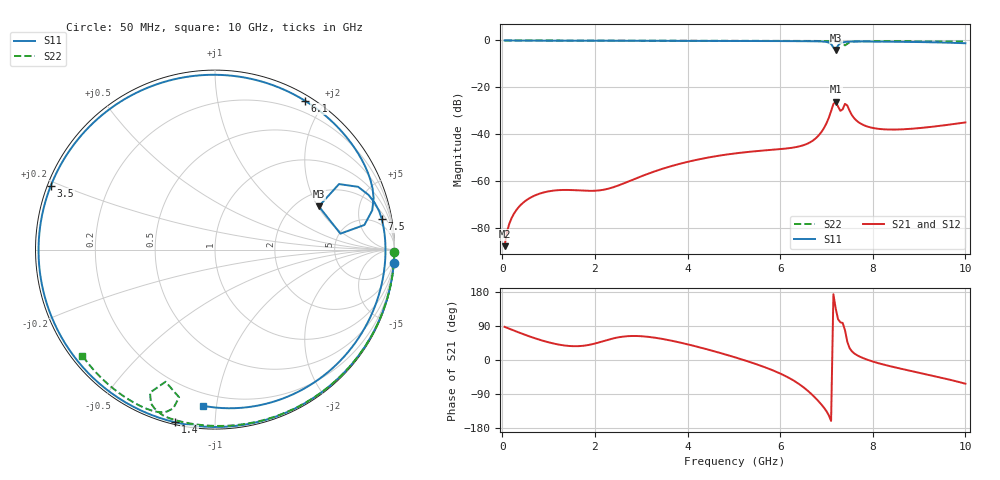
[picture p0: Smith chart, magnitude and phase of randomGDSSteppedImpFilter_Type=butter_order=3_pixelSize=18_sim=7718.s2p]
! freq	dB(S11)	phase(S11)	dB(S12)	phase(S12)
!  dB(S21)	phase(S21)	dB(S22)	phase(S22)
!S-par simulation data
#  GHz  S  DB  R 50
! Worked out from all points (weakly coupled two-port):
!   200 points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, 50 MHz to 10 GHz, reference 50 ohm
!   highest |S21| = -26.07 dB at 7.2 GHz (marker M1); lowest = -87.6 dB at 50 MHz (marker M2)
!   lowest |S11| = -4.1 dB at 7.2 GHz (marker M3), VSWR 4.36, Z = 129 + j102 ohm
!   |S11| at or under -10 dB: nowhere
!   |S22| runs from -2.1 to 0.0 dB; largest |S21 - S12| = 0
!   S11 on the Smith chart (normalised r, x): 50 MHz: 0, -27; 1.4 GHz: 0.01, -0.80; 3.5 GHz: 0.01, +0.19; 6.1 GHz: 0.07, +1.77; 7.5 GHz: 3, +10; 10 GHz: 0.13, -0.92
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0.05  -0.00 -4.2  -87.64 87.5  -87.64 87.5  -0.00 -0.8
0.4  -0.04 -32.7  -70.04 70.6  -70.04 70.6  -0.01 -6.5
0.75  -0.07 -59.5  -65.66 55.6  -65.66 55.6  -0.02 -12.2
1.4  -0.11 -103.0  -63.69 37.5  -63.69 37.5  -0.03 -22.7
1.75  -0.12 -123.0  -63.99 37.5  -63.99 37.5  -0.04 -28.3
2.55  -0.14 -162.0  -61.46 60.8  -61.46 60.8  -0.05 -40.8
3.4  -0.16 162.8  -55.05 56.8  -55.05 56.8  -0.07 -53.8
3.5  -0.16 158.8  -54.42 54.6  -54.42 54.6  -0.07 -55.3
4.3  -0.19 128.2  -50.43 32.2  -50.43 32.2  -0.09 -67.1
5.05  -0.22 99.7  -48.07 6.1  -48.07 6.1  -0.12 -77.8
6.1  -0.27 58.8  -46.10 -41.5  -46.10 -41.5  -0.16 -92.4
6.7  -0.35 33.9  -42.75 -92.7  -42.75 -92.7  -0.20 -100.9
7.05  -0.89 14.0  -32.97 -145.7  -32.97 -145.7  -0.26 -106.5
7.15  -3.05 7.2  -27.06 173.6  -27.06 173.6  -0.34 -108.5
7.2  -4.06 22.6  -26.07 135.5  -26.07 135.5  -0.40 -109.5
7.3  -1.20 23.7  -29.99 99.4  -29.99 99.4  -0.65 -112.6
7.4  -0.65 16.3  -27.00 78.6  -27.00 78.6  -2.09 -110.5
7.5  -0.49 10.3  -30.00 31.2  -30.00 31.2  -0.77 -104.7
7.8  -0.45 -3.5  -36.04 4.6  -36.04 4.6  -0.31 -112.2
8.35  -0.51 -25.8  -37.95 -15.7  -37.95 -15.7  -0.32 -120.2
9.25  -0.76 -61.6  -36.84 -40.3  -36.84 -40.3  -0.40 -131.8
10  -1.18 -94.4  -34.93 -62.6  -34.93 -62.6  -0.48 -141.3
